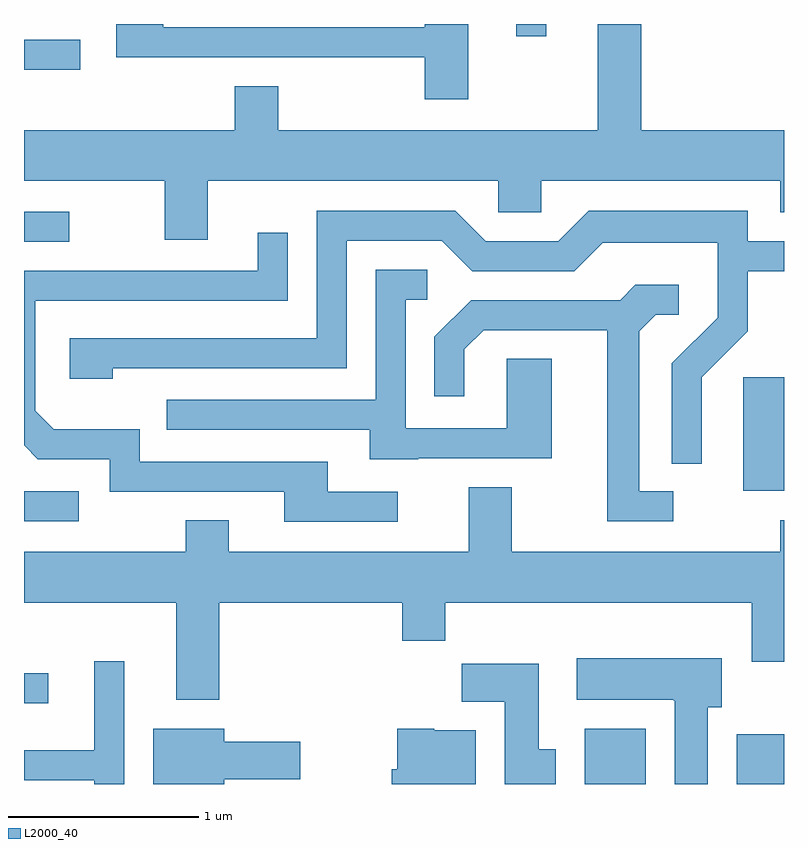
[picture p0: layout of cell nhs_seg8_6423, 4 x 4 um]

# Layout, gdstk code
import gdstk
lib = gdstk.Library(unit=1e-6, precision=1e-09)
def R(c, l, rs):  # rectangles x0, y0, x1, y1
    for r in rs: c.add(gdstk.rectangle(r[:2], r[2:], *l))
def P(c, l, *ps):  # polygons
    for p in ps: c.add(gdstk.Polygon(p, *l))
L2000_40 = (2000, 40)

nhs_seg8_6423 = lib.new_cell('nhs_seg8_6423')
R(nhs_seg8_6423, L2000_40, [(380.561,1844.342,380.884,1844.634), (381.361,1844.342,381.611,1844.604), (377.611,1844.766,377.738,1844.924), (377.611,1845.726,377.898,1845.884), (381.396,1845.886,381.611,1846.484), (377.611,1847.196,377.848,1847.354), (377.611,1848.101,377.908,1848.259), (380.201,1848.278,380.359,1848.342)])
P(nhs_seg8_6423, L2000_40, [(379.949,1848.342),(379.721,1848.342),(379.721,1848.324),(378.344,1848.324),(378.344,1848.342),(378.096,1848.342),(378.096,1848.166),(379.721,1848.166),(379.721,1847.946),(379.949,1847.946)],
  [(378.579,1847.516),(380.106,1847.516),(380.106,1847.351),(380.334,1847.351),(380.334,1847.516),(381.591,1847.516),(381.591,1847.351),(381.611,1847.351),(381.611,1847.784),(380.859,1847.784),(380.859,1848.342),(380.631,1848.342),(380.631,1847.784),(378.949,1847.784),(378.949,1848.014),(378.721,1848.014),(378.721,1847.784),(377.611,1847.784),(377.611,1847.516),(378.351,1847.516),(378.351,1847.206),(378.579,1847.206)],
  [(381.179,1846.484),(381.419,1846.724),(381.419,1847.041),(381.611,1847.041),(381.611,1847.199),(381.419,1847.199),(381.419,1847.359),(380.584,1847.359),(380.424,1847.199),(380.042,1847.199),(379.882,1847.359),(379.151,1847.359),(379.151,1846.689),(377.851,1846.689),(377.851,1846.476),(378.079,1846.476),(378.079,1846.531),(379.309,1846.531),(379.309,1847.201),(379.809,1847.201),(379.969,1847.041),(380.507,1847.041),(380.657,1847.191),(381.261,1847.191),(381.261,1846.797),(381.021,1846.557),(381.021,1846.028),(381.179,1846.028)],
  [(379.578,1845.879),(379.209,1845.879),(379.209,1846.039),(378.219,1846.039),(378.219,1846.209),(377.767,1846.209),(377.669,1846.307),(377.669,1846.886),(378.999,1846.886),(378.999,1847.243),(378.841,1847.243),(378.841,1847.044),(377.611,1847.044),(377.611,1846.124),(377.684,1846.051),(378.061,1846.051),(378.061,1845.881),(378.981,1845.881),(378.981,1845.721),(379.578,1845.721)],
  [(379.685,1846.056),(380.389,1846.056),(380.389,1846.579),(380.151,1846.579),(380.151,1846.214),(379.619,1846.214),(379.619,1846.891),(379.733,1846.891),(379.733,1847.049),(379.461,1847.049),(379.461,1846.364),(378.363,1846.364),(378.363,1846.206),(379.431,1846.206),(379.431,1846.051),(379.685,1846.051)],
  [(381.028,1845.884),(380.849,1845.884),(380.849,1846.724),(380.937,1846.811),(381.058,1846.811),(381.058,1846.969),(380.829,1846.969),(380.749,1846.889),(379.964,1846.889),(379.771,1846.697),(379.771,1846.383),(379.929,1846.383),(379.929,1846.629),(380.032,1846.731),(380.681,1846.731),(380.681,1845.726),(381.028,1845.726)],
  [(378.639,1845.296),(379.601,1845.296),(379.601,1845.096),(379.829,1845.096),(379.829,1845.296),(381.441,1845.296),(381.441,1844.986),(381.611,1844.986),(381.611,1845.729),(381.591,1845.729),(381.591,1845.564),(380.179,1845.564),(380.179,1845.904),(379.951,1845.904),(379.951,1845.564),(378.689,1845.564),(378.689,1845.729),(378.461,1845.729),(378.461,1845.564),(377.611,1845.564),(377.611,1845.296),(378.411,1845.296),(378.411,1844.786),(378.639,1844.786)],
  [(381.209,1844.746),(381.284,1844.746),(381.284,1845.004),(380.521,1845.004),(380.521,1844.786),(381.03,1844.786),(381.03,1844.78),(381.036,1844.78),(381.036,1844.342),(381.209,1844.342)],
  [(378.139,1844.988),(377.981,1844.988),(377.981,1844.519),(377.611,1844.519),(377.611,1844.361),(377.981,1844.361),(377.981,1844.342),(378.139,1844.342)],
  [(380.409,1844.524),(380.319,1844.524),(380.319,1844.974),(379.916,1844.974),(379.916,1844.776),(380.141,1844.776),(380.141,1844.342),(380.409,1844.342)],
  [(378.664,1844.366),(379.064,1844.366),(379.064,1844.564),(378.664,1844.564),(378.664,1844.634),(378.291,1844.634),(378.291,1844.342),(378.664,1844.342)],
  [(379.989,1844.624),(379.77,1844.624),(379.77,1844.634),(379.576,1844.634),(379.576,1844.419),(379.546,1844.419),(379.546,1844.342),(379.989,1844.342)])

lib.write_gds('nhs_seg8_6423.gds')
